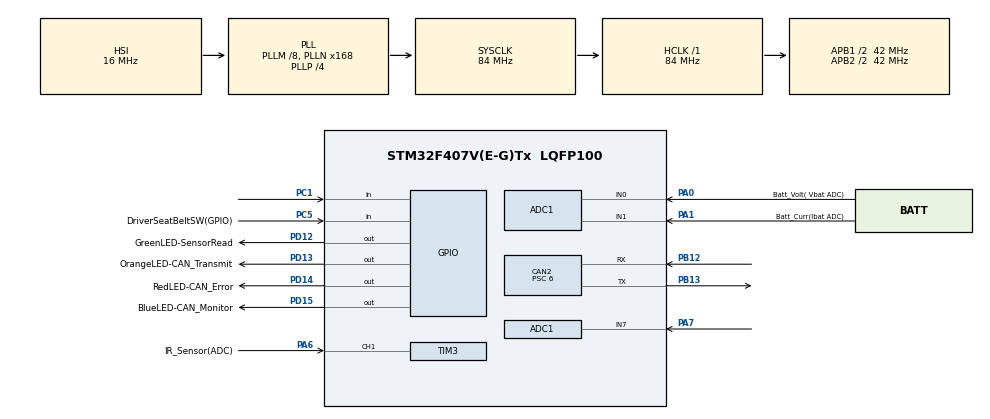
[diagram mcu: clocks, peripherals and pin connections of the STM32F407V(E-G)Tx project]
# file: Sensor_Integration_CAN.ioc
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ADC1.Channel-0\#ChannelRegularConversion=ADC_CHANNEL_0
ADC1.Channel-1\#ChannelRegularConversion=ADC_CHANNEL_0
ADC1.Channel-2\#ChannelRegularConversion=ADC_CHANNEL_0
ADC1.Channel-5\#ChannelRegularConversion=ADC_CHANNEL_0
ADC1.ContinuousConvMode=ENABLE
ADC1.DMAContinuousRequests=ENABLE
ADC1.NbrOfConversion=4
ADC1.NbrOfConversionFlag=1
ADC1.Rank-0\#ChannelRegularConversion=1
ADC1.Rank-1\#ChannelRegularConversion=2
ADC1.Rank-2\#ChannelRegularConversion=3
ADC1.Rank-5\#ChannelRegularConversion=4
ADC1.SamplingTime-0\#ChannelRegularConversion=ADC_SAMPLETIME_480CYCLES
ADC1.SamplingTime-1\#ChannelRegularConversion=ADC_SAMPLETIME_480CYCLES
ADC1.SamplingTime-2\#ChannelRegularConversion=ADC_SAMPLETIME_480CYCLES
ADC1.SamplingTime-5\#ChannelRegularConversion=ADC_SAMPLETIME_480CYCLES
ADC1.ScanConvMode=ENABLE
ADC1.master=1
CAN2.ABOM=ENABLE
CAN2.BS1=CAN_BS1_11TQ
CAN2.BS2=CAN_BS2_2TQ
CAN2.CalculateBaudRate=500000
CAN2.CalculateTimeBit=2000
CAN2.CalculateTimeQuantum=142.85714285714286
CAN2.NART=ENABLE
CAN2.Prescaler=6
Dma.ADC1.0.Direction=DMA_PERIPH_TO_MEMORY
Dma.ADC1.0.FIFOMode=DMA_FIFOMODE_DISABLE
Dma.ADC1.0.Instance=DMA2_Stream0
Dma.ADC1.0.MemDataAlignment=DMA_MDATAALIGN_WORD
Dma.ADC1.0.MemInc=DMA_MINC_ENABLE
Dma.ADC1.0.Mode=DMA_CIRCULAR
Dma.ADC1.0.PeriphDataAlignment=DMA_PDATAALIGN_WORD
Dma.ADC1.0.PeriphInc=DMA_PINC_DISABLE
Dma.ADC1.0.Priority=DMA_PRIORITY_HIGH
Dma.Request0=ADC1
Mcu.Family=STM32F4
Mcu.Name=STM32F407V(E-G)Tx
Mcu.Package=LQFP100
NVIC.CAN2_RX0_IRQn=true\:0\:0\:false\:false\:true\:true\:true\:true
NVIC.CAN2_RX1_IRQn=true\:0\:0\:false\:false\:true\:true\:true\:true
NVIC.CAN2_TX_IRQn=true\:0\:0\:false\:false\:true\:true\:true\:true
NVIC.DMA2_Stream0_IRQn=true\:0\:0\:false\:false\:true\:false\:true\:true
NVIC.PriorityGroup=NVIC_PRIORITYGROUP_4
NVIC.TIM2_IRQn=true\:15\:0\:false\:false\:true\:false\:true\:true
NVIC.TIM3_IRQn=true\:0\:0\:false\:false\:true\:true\:true\:true
NVIC.TimeBase=TIM2_IRQn
NVIC.TimeBaseIP=TIM2
PA0-WKUP.GPIO_Label=Batt_Volt( Vbat ADC)
PA0-WKUP.Signal=ADCx_IN0
PA1.GPIO_Label=Batt_Curr(Ibat ADC)
PA1.Signal=ADCx_IN1
PA13.Mode=Serial_Wire
PA13.Signal=SYS_JTMS-SWDIO
PA14.Mode=Serial_Wire
PA14.Signal=SYS_JTCK-SWCLK
PA6.GPIO_Label=IR_Sensor(ADC)
PA6.Signal=S_TIM3_CH1
PA7.Signal=ADCx_IN7
PB12.Mode=CAN_Activate
PB12.Signal=CAN2_RX
PB13.Mode=CAN_Activate
PB13.Signal=CAN2_TX
PC1.GPIO_PuPd=GPIO_PULLDOWN
PC1.Signal=GPIO_Input
PC5.GPIO_Label=DriverSeatBeltSW(GPIO)
PC5.GPIO_PuPd=GPIO_PULLDOWN
PC5.Signal=GPIO_Input
PD12.GPIO_Label=GreenLED-SensorRead
PD12.Signal=GPIO_Output
PD13.GPIO_Label=OrangeLED-CAN_Transmit
PD13.Signal=GPIO_Output
PD14.GPIO_Label=RedLED-CAN_Error
PD14.Signal=GPIO_Output
PD15.GPIO_Label=BlueLED-CAN_Monitor
PD15.Signal=GPIO_Output
PH0-OSC_IN.Mode=HSE-External-Oscillator
PH0-OSC_IN.Signal=RCC_OSC_IN
PH1-OSC_OUT.Mode=HSE-External-Oscillator
PH1-OSC_OUT.Signal=RCC_OSC_OUT
ProjectManager.HeapSize=0x5000
ProjectManager.StackSize=0x400
ProjectManager.TargetToolchain=STM32CubeIDE
RCC.48MHZClocksFreq_Value=84000000
RCC.AHBFreq_Value=84000000
RCC.APB1CLKDivider=RCC_HCLK_DIV2
RCC.APB1Freq_Value=42000000
RCC.APB1TimFreq_Value=84000000
RCC.APB2CLKDivider=RCC_HCLK_DIV2
RCC.APB2Freq_Value=42000000
RCC.APB2TimFreq_Value=84000000
RCC.CortexFreq_Value=84000000
RCC.HCLKFreq_Value=84000000
RCC.HSE_VALUE=25000000
RCC.HSI_VALUE=16000000
RCC.LSE_VALUE=32768
RCC.PLLM=8
RCC.PLLN=168
RCC.PLLP=RCC_PLLP_DIV4
RCC.SYSCLKFreq_VALUE=84000000
RCC.SYSCLKSource=RCC_SYSCLKSOURCE_PLLCLK
RCC.VCOOutputFreq_Value=336000000
SH.ADCx_IN0.0=ADC1_IN0,IN0
SH.ADCx_IN1.0=ADC1_IN1,IN1
SH.ADCx_IN7.0=ADC1_IN7,IN7
SH.S_TIM3_CH1.0=TIM3_CH1,Input_Capture1_from_TI1
TIM1.AutoReloadPreload=TIM_AUTORELOAD_PRELOAD_ENABLE
TIM1.Period=999
TIM1.Prescaler=83
TIM3.Channel-Input_Capture1_from_TI1=TIM_CHANNEL_1
TIM3.ICFilter_CH1=8
TIM3.Prescaler=41
VP_SYS_VS_tim2.Mode=TIM2
VP_TIM1_VS_ClockSourceINT.Mode=Internal
VP_TIM3_VS_ClockSourceINT.Mode=Internal
board=custom

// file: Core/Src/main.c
/* USER CODE BEGIN Header */
/**
  ******************************************************************************
  * @file           : main.c
  * @brief          : CAN2 Automotive Dashboard Transmitter with FreeRTOS
  * @attention      : ACS712 Current Calculation Fixed
  ******************************************************************************
  */
/* USER CODE END Header */

#include "main.h"
#include <string.h>
#include <math.h> // Added for fabsf if needed

/* USER CODE BEGIN Includes */
#include "stm32f4xx_hal.h"
#include "FreeRTOS.h"
#include "task.h"
#include "queue.h"
#include "semphr.h"
#include "event_groups.h"
// #include "SEGGER_SYSVIEW.h" // Uncomment if using Segger
/* USER CODE END Includes */

/* USER CODE BEGIN PTD */

/* CAN Message Queue Item Structure */
typedef struct {
    uint32_t msg_id;
    uint8_t data[8];
    uint8_t dlc;
} CAN_QueueMessage_t;

/* Vehicle Data Structure (Protected by Mutex) */
typedef struct {
    uint16_t rpm;
    uint16_t vehicle_speed;
    float battery_voltage;
    uint8_t battery_soc;
    int16_t battery_current;
    float battery_temperature;
    uint8_t door_status;
    uint8_t seatbelt_status;
} VehicleData_t;

/* USER CODE END PTD */

/* USER CODE BEGIN PD */

#define STACK_SIZE 256
#define CAN_QUEUE_SIZE 20

/* LED Pin Definitions - Adjust for your board */
#define LED_GREEN_PIN   GPIO_PIN_12
#define LED_ORANGE_PIN  GPIO_PIN_13
#define LED_RED_PIN     GPIO_PIN_14
#define LED_BLUE_PIN    GPIO_PIN_15
#define LED_GPIO_PORT   GPIOD

/* --- SENSOR CONFIGURATION --- */
#define VOLTAGE_DIVIDER_RATIO   5.0f    // (30k/7.5k)

/* ACS712 Configuration */
#define ACS712_SENSITIVITY      0.066f  // 30A Model (66mV/A)
// Standard ACS712 Zero Point is 2.5V (5V / 2).
// IMPORTANT: If your Multimeter reads 2.48V at PA1 when 0A, change this to 2.48f.
#define ACS712_ZERO_POINT       2.50f

#define ADC_BUF_LEN 4
#define WHEEL_MARKS             1

/* USER CODE END PD */

ADC_HandleTypeDef hadc1;
DMA_HandleTypeDef hdma_adc1;
CAN_HandleTypeDef hcan2;
TIM_HandleTypeDef htim1; // Motor PWM
TIM_HandleTypeDef htim3; // Speed Sensor

/* Speed measurement variables */
volatile uint32_t speed_pulse_count = 0;
volatile uint32_t last_capture_value = 0;
volatile uint32_t motor_rpm_calculated = 0;

/* Smoothed RPM variable */
volatile float motor_rpm_smoothed = 0.0f;
#define RPM_ALPHA 0.2f

/* Smoothed Voltage variable */
volatile float battery_voltage_smoothed = 0.0f;
#define VOLT_ALPHA 0.1f

/* Motor control */
volatile uint16_t motor_pwm_duty = 0;

/* ADC Buffer: [0]=Voltage, [1]=Current, [2]=Temp, [3]=Potentiometer */
uint32_t adc_buffer[ADC_BUF_LEN];

/* Task Handles */
TaskHandle_t SensorReadTaskHandle = NULL;
TaskHandle_t CANTransmitTaskHandle = NULL;
TaskHandle_t MonitorTaskHandle = NULL;

/* Queue & Mutex Handles */
QueueHandle_t CANMessageQueue = NULL;
SemaphoreHandle_t VehicleDataMutex = NULL;

/* Shared Vehicle Data */
VehicleData_t vehicle_data = {0};

/* Counters */
volatile uint32_t can_tx_errors = 0;
volatile uint32_t can_tx_count = 0;
volatile uint32_t sensor_read_count = 0;

void SystemClock_Config(void);
static void MX_GPIO_Init(void);
static void MX_DMA_Init(void);
static void MX_CAN2_Init(void);
static void MX_ADC1_Init(void);
static void MX_TIM1_Init(void);
static void MX_TIM3_Init(void);

/* Task Functions */
void Task_SensorRead(void *argument);
void Task_CANTransmit(void *argument);
void Task_Monitor(void *argument);

/* Sensor Helper Functions */
uint16_t Read_MotorRPM(void);
uint16_t Read_VehicleSpeed(void);
void Read_BatteryStatus(float *voltage, uint8_t *soc, int16_t *current, float *temperature);
uint8_t Read_DoorStatus(void);
uint8_t Read_SeatbeltStatus(void);
void Update_MotorSpeed_FromPot(void);

/* Message Helper Functions */
void Queue_CANMessage(uint32_t msg_id, uint8_t *data, uint8_t dlc);
void PrepareAndQueue_MotorSpeed(uint16_t rpm);
void PrepareAndQueue_VehicleSpeed(uint16_t speed);
void PrepareAndQueue_BatteryStatus(float voltage, uint8_t soc, int16_t current, float temperature);
void PrepareAndQueue_DoorStatus(uint8_t doors, uint8_t belts);

/* LED Helpers */
void LED_Green_Toggle(void)  { HAL_GPIO_TogglePin(LED_GPIO_PORT, LED_GREEN_PIN); }
void LED_Orange_Toggle(void) { HAL_GPIO_TogglePin(LED_GPIO_PORT, LED_ORANGE_PIN); }
void LED_Red_Toggle(void)    { HAL_GPIO_TogglePin(LED_GPIO_PORT, LED_RED_PIN); }
void LED_Blue_Toggle(void)   { HAL_GPIO_TogglePin(LED_GPIO_PORT, LED_BLUE_PIN); }
void LED_Red_On(void)        { HAL_GPIO_WritePin(LED_GPIO_PORT, LED_RED_PIN, GPIO_PIN_SET); }
void LED_Red_Off(void)       { HAL_GPIO_WritePin(LED_GPIO_PORT, LED_RED_PIN, GPIO_PIN_RESET); }

int main(void)
{
  HAL_Init();
  SystemClock_Config();

  MX_GPIO_Init();
  MX_DMA_Init();
  MX_CAN2_Init();
  MX_ADC1_Init();
  MX_TIM1_Init();
  MX_TIM3_Init();

  /* Start PWM for motor control */
  HAL_TIM_PWM_Start(&htim1, TIM_CHANNEL_1);

  /* Start ADC DMA */
  HAL_ADC_Start_DMA(&hadc1, (uint32_t*)adc_buffer, ADC_BUF_LEN);

  /* Create Mutex */
  VehicleDataMutex = xSemaphoreCreateMutex();

  /* Create Queue */
  CANMessageQueue = xQueueCreate(CAN_QUEUE_SIZE, sizeof(CAN_QueueMessage_t));

  /* Create Tasks */
  xTaskCreate(Task_SensorRead, "SensorRead", STACK_SIZE, NULL, tskIDLE_PRIORITY + 3, &SensorReadTaskHandle);
  xTaskCreate(Task_CANTransmit, "CANTransmit", STACK_SIZE, NULL, tskIDLE_PRIORITY + 2, &CANTransmitTaskHandle);
  xTaskCreate(Task_Monitor, "Monitor", STACK_SIZE / 2, NULL, tskIDLE_PRIORITY + 1, &MonitorTaskHandle);

  /* Start Scheduler */
  vTaskStartScheduler();

  while (1) {}
}

/* ---------------------------------------------------------------------------
 * TASK IMPLEMENTATIONS
 * --------------------------------------------------------------------------- */

void Task_SensorRead(void *argument)
{
    while(1)
    {
        LED_Green_Toggle();

        uint16_t rpm = Read_MotorRPM();
        uint16_t speed = Read_VehicleSpeed();
        float voltage, temperature;
        uint8_t soc;
        int16_t current;

        Read_BatteryStatus(&voltage, &soc, &current, &temperature);

        uint8_t doors = Read_DoorStatus();
        uint8_t belts = Read_SeatbeltStatus();

        Update_MotorSpeed_FromPot();

        if(xSemaphoreTake(VehicleDataMutex, pdMS_TO_TICKS(10)) == pdTRUE)
        {
            vehicle_data.rpm = rpm;
            vehicle_data.vehicle_speed = speed;
            vehicle_data.battery_voltage = voltage;
            vehicle_data.battery_soc = soc;
            vehicle_data.battery_current = current;
            vehicle_data.battery_temperature = temperature;
            vehicle_data.door_status = doors;
            vehicle_data.seatbelt_status = belts;
            xSemaphoreGive(VehicleDataMutex);
            sensor_read_count++;
        }
        vTaskDelay(pdMS_TO_TICKS(50));
    }
}

void Task_CANTransmit(void *argument)
{
    CAN_TxHeaderTypeDef TxHeader;
    uint32_t TxMailbox;
    uint8_t cycle_count = 0;

    while(1)
    {
        LED_Orange_Toggle();

        if(xSemaphoreTake(VehicleDataMutex, pdMS_TO_TICKS(10)) == pdTRUE)
        {
            PrepareAndQueue_MotorSpeed(vehicle_data.rpm);
            PrepareAndQueue_VehicleSpeed(vehicle_data.vehicle_speed);
            PrepareAndQueue_BatteryStatus(vehicle_data.battery_voltage,
                                         vehicle_data.battery_soc,
                                         vehicle_data.battery_current,
                                         vehicle_data.battery_temperature);

            if(cycle_count % 2 == 0) {
                PrepareAndQueue_DoorStatus(vehicle_data.door_status, vehicle_data.seatbelt_status);
            }
            cycle_count++;
            xSemaphoreGive(VehicleDataMutex);
        }

        CAN_QueueMessage_t msg;
        while(xQueueReceive(CANMessageQueue, &msg, 0) == pdTRUE)
        {
            TxHeader.StdId = msg.msg_id;
            TxHeader.ExtId = 0x00;
            TxHeader.RTR = CAN_RTR_DATA;
            TxHeader.IDE = CAN_ID_STD;
            TxHeader.DLC = msg.dlc;
            TxHeader.TransmitGlobalTime = DISABLE;

            uint32_t timeout = HAL_GetTick() + 10;
            while(HAL_CAN_GetTxMailboxesFreeLevel(&hcan2) == 0) {
                if(HAL_GetTick() > timeout) {
                    can_tx_errors++;
                    LED_Red_On();
                    break;
                }
                taskYIELD();
            }

            if(HAL_CAN_AddTxMessage(&hcan2, &TxHeader, msg.data, &TxMailbox) == HAL_OK) {
                can_tx_count++;
                LED_Red_Off();
            } else {
                can_tx_errors++;
                LED_Red_On();
            }
            vTaskDelay(pdMS_TO_TICKS(5));
        }
        vTaskDelay(pdMS_TO_TICKS(100));
    }
}

void Task_Monitor(void *argument)
{
    while(1)
    {
        LED_Blue_Toggle();
        uint32_t error_code = HAL_CAN_GetError(&hcan2);

        if(error_code != HAL_CAN_ERROR_NONE) {
            LED_Red_On();
            if(error_code & HAL_CAN_ERROR_BOF) HAL_CAN_ResetError(&hcan2);
        } else {
            LED_Red_Off();
        }
        vTaskDelay(pdMS_TO_TICKS(1000));
    }
}

/* ---------------------------------------------------------------------------
 * SENSOR HELPER FUNCTIONS
 * --------------------------------------------------------------------------- */

void Read_BatteryStatus(float *voltage, uint8_t *soc, int16_t *current, float *temperature)
{
    // --- 1. BATTERY VOLTAGE (PA0) ---
    float v_pin = (adc_buffer[0] * 3.3f) / 4095.0f;
    *voltage = v_pin * VOLTAGE_DIVIDER_RATIO;

    // --- 2. BATTERY CURRENT (PA1 - ACS712) ---
    // [FIX APPLIED HERE]
    float c_pin = (adc_buffer[1] * 3.3f) / 4095.0f;

    // Calculate raw current (Direct connection assumes no voltage divider on ACS712 output)
    float amps = (c_pin - ACS712_ZERO_POINT) / ACS712_SENSITIVITY;

    // Deadband for noise rejection (+/- 0.4A)
    if(amps > -0.4f && amps < 0.4f) amps = 0.0f;

    *current = (int16_t)(amps * 10.0f);

    // --- 3. BATTERY TEMPERATURE (PA7 - Inverted NTC) ---
    float raw_val = (adc_buffer[2] * 330.0f) / 4095.0f;
    *temperature = 25.0f + (49.0f - raw_val) * 2.0f;
    if (*temperature < 0.0f) *temperature = 0.0f;
    if (*temperature > 120.0f) *temperature = 120.0f;

    // --- 4. STATE OF CHARGE (SOC) ---
    battery_voltage_smoothed = (VOLT_ALPHA * (*voltage)) + ((1.0f - VOLT_ALPHA) * battery_voltage_smoothed);

    if (battery_voltage_smoothed >= 9.0f) *soc = 100;
    else if (battery_voltage_smoothed <= 6.0f) *soc = 0;
    else *soc = (uint8_t)((battery_voltage_smoothed - 6.0f) / 3.0f * 100.0f);
}

uint16_t Read_MotorRPM(void) {
    static uint32_t last_update = 0;
    if (HAL_GetTick() - last_update > 4000) {
        static uint32_t last_pulse_count = 0;
        if (speed_pulse_count == last_pulse_count) motor_rpm_calculated = 0;
        last_pulse_count = speed_pulse_count;
        last_update = HAL_GetTick();
    }
    return (uint16_t)motor_rpm_calculated;
}

uint16_t Read_VehicleSpeed(void) {
    return (uint16_t)(motor_rpm_calculated / 60.0f);
}

uint8_t Read_DoorStatus(void) {
    return (uint8_t)HAL_GPIO_ReadPin(GPIOC, GPIO_PIN_1);
}

uint8_t Read_SeatbeltStatus(void) {
    return (uint8_t)HAL_GPIO_ReadPin(GPIOC, GPIO_PIN_5);
}

void Update_MotorSpeed_FromPot(void) {
    uint32_t pot_value = adc_buffer[3];
    motor_pwm_duty = (pot_value * 1000) / 4095;
    __HAL_TIM_SET_COMPARE(&htim1, TIM_CHANNEL_1, motor_pwm_duty);
}

/* ---------------------------------------------------------------------------
 * CAN QUEUE HELPERS
 * --------------------------------------------------------------------------- */

void Queue_CANMessage(uint32_t msg_id, uint8_t *data, uint8_t dlc) {
    CAN_QueueMessage_t msg;
    msg.msg_id = msg_id;
    msg.dlc = dlc;
    memcpy(msg.data, data, dlc);
    xQueueSend(CANMessageQueue, &msg, 0);
}

void PrepareAndQueue_MotorSpeed(uint16_t rpm) {
    uint8_t data[2] = {(rpm >> 8) & 0xFF, rpm & 0xFF};
    Queue_CANMessage(0x100, data, 2);
}

void PrepareAndQueue_VehicleSpeed(uint16_t speed) {
    uint8_t data[2] = {(speed >> 8) & 0xFF, speed & 0xFF};
    Queue_CANMessage(0x105, data, 2);
}

void PrepareAndQueue_BatteryStatus(float voltage, uint8_t soc, int16_t current, float temperature) {
    uint8_t data[6];
    uint16_t voltage_mv = (uint16_t)(voltage * 100);
    data[0] = (voltage_mv >> 8) & 0xFF;
    data[1] = voltage_mv & 0xFF;
    data[2] = soc;
    data[3] = (current >> 8) & 0xFF;
    data[4] = current & 0xFF;
    data[5] = (uint8_t)temperature;
    Queue_CANMessage(0x101, data, 6);
}

void PrepareAndQueue_DoorStatus(uint8_t doors, uint8_t belts) {
    uint8_t data[2] = {doors, belts};
    Queue_CANMessage(0x102, data, 2);
}

/* ---------------------------------------------------------------------------
 * HARDWARE INIT
 * --------------------------------------------------------------------------- */

void SystemClock_Config(void)
{
  RCC_OscInitTypeDef RCC_OscInitStruct = {0};
  RCC_ClkInitTypeDef RCC_ClkInitStruct = {0};

  __HAL_RCC_PWR_CLK_ENABLE();
  __HAL_PWR_VOLTAGESCALING_CONFIG(PWR_REGULATOR_VOLTAGE_SCALE1);

  RCC_OscInitStruct.OscillatorType = RCC_OSCILLATORTYPE_HSI;
  RCC_OscInitStruct.HSIState = RCC_HSI_ON;
  RCC_OscInitStruct.HSICalibrationValue = RCC_HSICALIBRATION_DEFAULT;
  RCC_OscInitStruct.PLL.PLLState = RCC_PLL_ON;
  RCC_OscInitStruct.PLL.PLLSource = RCC_PLLSOURCE_HSI;
  RCC_OscInitStruct.PLL.PLLM = 8;
  RCC_OscInitStruct.PLL.PLLN = 168;
  RCC_OscInitStruct.PLL.PLLP = RCC_PLLP_DIV4;
  RCC_OscInitStruct.PLL.PLLQ = 4;
  HAL_RCC_OscConfig(&RCC_OscInitStruct);

  RCC_ClkInitStruct.ClockType = RCC_CLOCKTYPE_HCLK|RCC_CLOCKTYPE_SYSCLK|RCC_CLOCKTYPE_PCLK1|RCC_CLOCKTYPE_PCLK2;
  RCC_ClkInitStruct.SYSCLKSource = RCC_SYSCLKSOURCE_PLLCLK;
  RCC_ClkInitStruct.AHBCLKDivider = RCC_SYSCLK_DIV1;
  RCC_ClkInitStruct.APB1CLKDivider = RCC_HCLK_DIV2;
  RCC_ClkInitStruct.APB2CLKDivider = RCC_HCLK_DIV2;
  HAL_RCC_ClockConfig(&RCC_ClkInitStruct, FLASH_LATENCY_2);
}

static void MX_ADC1_Init(void)
{
  ADC_ChannelConfTypeDef sConfig = {0};
  hadc1.Instance = ADC1;
  hadc1.Init.ClockPrescaler = ADC_CLOCK_SYNC_PCLK_DIV2;
  hadc1.Init.Resolution = ADC_RESOLUTION_12B;
  hadc1.Init.ScanConvMode = ENABLE;
  hadc1.Init.ContinuousConvMode = ENABLE;
  hadc1.Init.DiscontinuousConvMode = DISABLE;
  hadc1.Init.ExternalTrigConvEdge = ADC_EXTERNALTRIGCONVEDGE_NONE;
  hadc1.Init.ExternalTrigConv = ADC_SOFTWARE_START;
  hadc1.Init.DataAlign = ADC_DATAALIGN_RIGHT;
  hadc1.Init.NbrOfConversion = 4;
  hadc1.Init.DMAContinuousRequests = ENABLE;
  hadc1.Init.EOCSelection = ADC_EOC_SINGLE_CONV;
  HAL_ADC_Init(&hadc1);

  sConfig.Channel = ADC_CHANNEL_0;
  sConfig.Rank = 1;
  sConfig.SamplingTime = ADC_SAMPLETIME_480CYCLES;
  HAL_ADC_ConfigChannel(&hadc1, &sConfig);

  sConfig.Channel = ADC_CHANNEL_1;
  sConfig.Rank = 2;
  HAL_ADC_ConfigChannel(&hadc1, &sConfig);

  sConfig.Channel = ADC_CHANNEL_7;
  sConfig.Rank = 3;
  HAL_ADC_ConfigChannel(&hadc1, &sConfig);

  sConfig.Channel = ADC_CHANNEL_3;
  sConfig.Rank = 4;
  HAL_ADC_ConfigChannel(&hadc1, &sConfig);
}

static void MX_CAN2_Init(void)
{
  hcan2.Instance = CAN2;
  hcan2.Init.Prescaler = 6;
  hcan2.Init.Mode = CAN_MODE_NORMAL;
  hcan2.Init.SyncJumpWidth = CAN_SJW_1TQ;
  hcan2.Init.TimeSeg1 = CAN_BS1_11TQ;
  hcan2.Init.TimeSeg2 = CAN_BS2_2TQ;
  hcan2.Init.TimeTriggeredMode = DISABLE;
  hcan2.Init.AutoBusOff = ENABLE;
  hcan2.Init.AutoWakeUp = DISABLE;
  hcan2.Init.AutoRetransmission = ENABLE;
  hcan2.Init.ReceiveFifoLocked = DISABLE;
  hcan2.Init.TransmitFifoPriority = DISABLE;
  HAL_CAN_Init(&hcan2);

  CAN_FilterTypeDef sFilterConfig;
  sFilterConfig.FilterBank = 14;
  sFilterConfig.FilterMode = CAN_FILTERMODE_IDMASK;
  sFilterConfig.FilterScale = CAN_FILTERSCALE_32BIT;
  sFilterConfig.FilterIdHigh = 0x0000;
  sFilterConfig.FilterIdLow = 0x0000;
  sFilterConfig.FilterMaskIdHigh = 0x0000;
  sFilterConfig.FilterMaskIdLow = 0x0000;
  sFilterConfig.FilterFIFOAssignment = CAN_RX_FIFO0;
  sFilterConfig.FilterActivation = ENABLE;
  sFilterConfig.SlaveStartFilterBank = 14;
  HAL_CAN_ConfigFilter(&hcan2, &sFilterConfig);
  HAL_CAN_Start(&hcan2);
}

static void MX_TIM1_Init(void)
{
  TIM_ClockConfigTypeDef sClockSourceConfig = {0};
  TIM_MasterConfigTypeDef sMasterConfig = {0};

  htim1.Instance = TIM1;
  htim1.Init.Prescaler = 83;
  htim1.Init.CounterMode = TIM_COUNTERMODE_UP;
  htim1.Init.Period = 999;
  htim1.Init.ClockDivision = TIM_CLOCKDIVISION_DIV1;
  htim1.Init.AutoReloadPreload = TIM_AUTORELOAD_PRELOAD_ENABLE;
  HAL_TIM_Base_Init(&htim1);

  sClockSourceConfig.ClockSource = TIM_CLOCKSOURCE_INTERNAL;
  HAL_TIM_ConfigClockSource(&htim1, &sClockSourceConfig);

  sMasterConfig.MasterOutputTrigger = TIM_TRGO_RESET;
  sMasterConfig.MasterSlaveMode = TIM_MASTERSLAVEMODE_DISABLE;
  HAL_TIMEx_MasterConfigSynchronization(&htim1, &sMasterConfig);
}

static void MX_TIM3_Init(void)
{
  TIM_ClockConfigTypeDef sClockSourceConfig = {0};
  TIM_IC_InitTypeDef sConfigIC = {0};

  htim3.Instance = TIM3;
  htim3.Init.Prescaler = 8399;
  htim3.Init.CounterMode = TIM_COUNTERMODE_UP;
  htim3.Init.Period = 65535;
  htim3.Init.ClockDivision = TIM_CLOCKDIVISION_DIV1;
  HAL_TIM_Base_Init(&htim3);

  sClockSourceConfig.ClockSource = TIM_CLOCKSOURCE_INTERNAL;
  HAL_TIM_ConfigClockSource(&htim3, &sClockSourceConfig);
  HAL_TIM_IC_Init(&htim3);

  sConfigIC.ICPolarity = TIM_INPUTCHANNELPOLARITY_RISING;
  sConfigIC.ICSelection = TIM_ICSELECTION_DIRECTTI;
  sConfigIC.ICPrescaler = TIM_ICPSC_DIV1;
  sConfigIC.ICFilter = 8;
  HAL_TIM_IC_ConfigChannel(&htim3, &sConfigIC, TIM_CHANNEL_1);

  HAL_TIM_IC_Start_IT(&htim3, TIM_CHANNEL_1);
}

static void MX_DMA_Init(void)
{
  __HAL_RCC_DMA2_CLK_ENABLE();
  HAL_NVIC_SetPriority(DMA2_Stream0_IRQn, 0, 0);
  HAL_NVIC_EnableIRQ(DMA2_Stream0_IRQn);
}

static void MX_GPIO_Init(void)
{
  GPIO_InitTypeDef GPIO_InitStruct = {0};

  __HAL_RCC_GPIOH_CLK_ENABLE();
  __HAL_RCC_GPIOC_CLK_ENABLE();
  __HAL_RCC_GPIOA_CLK_ENABLE();
  __HAL_RCC_GPIOB_CLK_ENABLE();
  __HAL_RCC_GPIOD_CLK_ENABLE();

  HAL_GPIO_WritePin(GPIOD, GPIO_PIN_12|GPIO_PIN_13|GPIO_PIN_14|GPIO_PIN_15, GPIO_PIN_RESET);

  /* Door & Seatbelt Inputs */
  GPIO_InitStruct.Pin = GPIO_PIN_1|GPIO_PIN_5;
  GPIO_InitStruct.Mode = GPIO_MODE_INPUT;
  GPIO_InitStruct.Pull = GPIO_PULLDOWN;
  HAL_GPIO_Init(GPIOC, &GPIO_InitStruct);

  /* LED Outputs */
  GPIO_InitStruct.Pin = GPIO_PIN_12|GPIO_PIN_13|GPIO_PIN_14|GPIO_PIN_15;
  GPIO_InitStruct.Mode = GPIO_MODE_OUTPUT_PP;
  GPIO_InitStruct.Pull = GPIO_NOPULL;
  GPIO_InitStruct.Speed = GPIO_SPEED_FREQ_LOW;
  HAL_GPIO_Init(GPIOD, &GPIO_InitStruct);
}

void HAL_TIM_IC_CaptureCallback(TIM_HandleTypeDef *htim)
{
    if (htim->Instance == TIM3)
    {
        uint32_t current_capture = HAL_TIM_ReadCapturedValue(htim, TIM_CHANNEL_1);
        uint32_t diff = (uint16_t)(current_capture - last_capture_value);
        last_capture_value = current_capture;

        if (diff > 50) {
            float frequency_hz = 10000.0f / diff;
            uint32_t instant_rpm = (uint32_t)((frequency_hz * 60.0f) / WHEEL_MARKS);

            // EMA Smoothing
            motor_rpm_smoothed = (RPM_ALPHA * instant_rpm) + ((1.0f - RPM_ALPHA) * motor_rpm_smoothed);
            motor_rpm_calculated = (uint32_t)motor_rpm_smoothed;
        }
        speed_pulse_count++;
    }
}

void HAL_TIM_PeriodElapsedCallback(TIM_HandleTypeDef *htim)
{
  if (htim->Instance == TIM2) HAL_IncTick();
}

void Error_Handler(void)
{
  __disable_irq();
  while (1) {}
}
